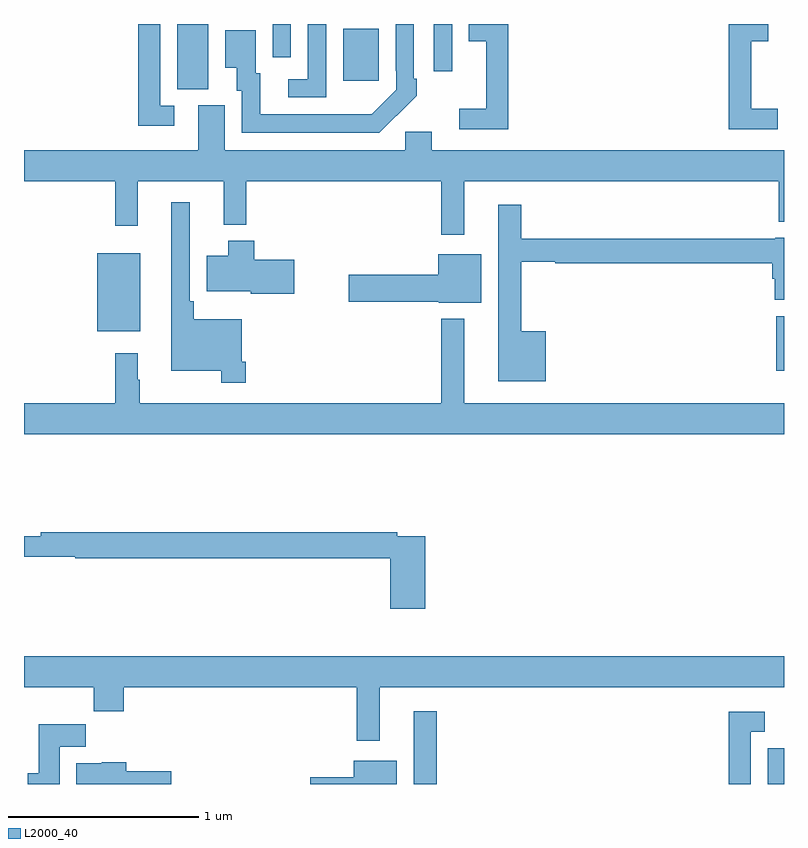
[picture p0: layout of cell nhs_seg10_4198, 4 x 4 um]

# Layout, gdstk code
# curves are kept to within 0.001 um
import gdstk
lib = gdstk.Library(unit=1e-6, precision=1e-09)
def R(c, l, rs):  # rectangles x0, y0, x1, y1
    for r in rs: c.add(gdstk.rectangle(r[:2], r[2:], *l))
def P(c, l, *ps):  # polygons
    for p in ps: c.add(gdstk.Polygon(p, *l))
L2000_40 = (2000, 40)

nhs_seg10_4198 = lib.new_cell('nhs_seg10_4198')
R(nhs_seg10_4198, L2000_40, [(347.051,1274.5,347.173,1274.884), (348.914,1274.5,349,1274.688), (348.959,1276.674,349,1276.963), (345.386,1276.883,345.613,1277.293), (345.806,1278.157,345.97,1278.5), (346.679,1278.201,346.867,1278.475), (347.157,1278.252,347.253,1278.5), (346.308,1278.324,346.404,1278.5)])
P(nhs_seg10_4198, L2000_40, [(346.961,1278.019),(346.962,1278.018),(347.067,1278.123),(347.067,1278.211),(347.052,1278.211),(347.052,1278.5),(346.956,1278.5),(346.956,1278.253),(346.959,1278.253),(346.959,1278.153),(346.831,1278.025),(346.243,1278.024),(346.243,1278.24),(346.219,1278.24),(346.219,1278.466),(346.058,1278.466),(346.058,1278.269),(346.121,1278.269),(346.121,1278.15),(346.146,1278.15),(346.146,1277.928),(346.87,1277.928)],
  [(345.79,1278.069),(345.717,1278.069),(345.717,1278.5),(345.601,1278.5),(345.601,1277.964),(345.79,1277.964)],
  [(346.59,1278.5),(346.494,1278.5),(346.494,1278.21),(346.392,1278.21),(346.392,1278.114),(346.59,1278.114)],
  [(348.967,1278.055),(348.827,1278.055),(348.827,1278.41),(348.916,1278.41),(348.916,1278.5),(348.709,1278.5),(348.709,1277.946),(348.967,1277.946)],
  [(347.549,1278.5),(347.342,1278.5),(347.342,1278.41),(347.432,1278.41),(347.432,1278.055),(347.292,1278.055),(347.292,1277.946),(347.549,1277.946)],
  [(347.317,1277.672),(348.973,1277.672),(348.973,1277.459),(349,1277.459),(349,1277.836),(347.146,1277.836),(347.146,1277.934),(347.007,1277.934),(347.007,1277.836),(346.057,1277.836),(346.057,1278.072),(345.917,1278.072),(345.917,1277.836),(345,1277.836),(345,1277.672),(345.481,1277.672),(345.481,1277.439),(345.599,1277.439),(345.599,1277.672),(346.052,1277.672),(346.052,1277.444),(346.169,1277.444),(346.169,1277.672),(347.196,1277.672),(347.196,1277.391),(347.317,1277.391)],
  [(346.166,1276.723),(346.146,1276.723),(346.146,1276.945),(345.893,1276.945),(345.893,1277.041),(345.873,1277.041),(345.873,1277.563),(345.776,1277.563),(345.776,1276.676),(346.038,1276.676),(346.038,1276.611),(346.166,1276.611)],
  [(347.746,1276.882),(347.617,1276.882),(347.617,1277.25),(347.795,1277.25),(347.795,1277.242),(348.938,1277.242),(348.938,1277.159),(348.95,1277.159),(348.95,1277.048),(349,1277.048),(349,1277.374),(348.954,1277.374),(348.954,1277.371),(347.617,1277.371),(347.617,1277.548),(347.495,1277.548),(347.495,1276.619),(347.746,1276.619)],
  [(346.423,1277.259),(346.211,1277.259),(346.211,1277.359),(346.076,1277.359),(346.076,1277.281),(345.962,1277.281),(345.962,1277.093),(346.194,1277.093),(346.194,1277.081),(346.423,1277.081)],
  [(347.407,1277.287),(347.18,1277.287),(347.18,1277.181),(346.71,1277.181),(346.71,1277.039),(347.184,1277.039),(347.184,1277.033),(347.407,1277.033)],
  [(349,1276.504),(347.317,1276.504),(347.317,1276.948),(347.196,1276.948),(347.196,1276.504),(345.61,1276.504),(345.61,1276.628),(345.598,1276.628),(345.598,1276.768),(345.481,1276.768),(345.481,1276.504),(345,1276.504),(345,1276.34),(349,1276.34)],
  [(347.111,1275.804),(346.964,1275.804),(346.964,1275.824),(345.088,1275.824),(345.088,1275.805),(345,1275.805),(345,1275.696),(345.269,1275.696),(345.269,1275.688),(346.928,1275.688),(346.928,1275.423),(347.111,1275.423)],
  [(346.873,1275.008),(349,1275.008),(349,1275.172),(345,1275.172),(345,1275.008),(345.367,1275.008),(345.367,1274.884),(345.524,1274.884),(345.524,1275.008),(346.752,1275.008),(346.752,1274.727),(346.873,1274.727)],
  [(348.825,1274.775),(348.898,1274.775),(348.898,1274.881),(348.709,1274.881),(348.709,1274.5),(348.825,1274.5)],
  [(345.187,1274.696),(345.326,1274.696),(345.326,1274.815),(345.077,1274.815),(345.077,1274.556),(345.02,1274.556),(345.02,1274.5),(345.187,1274.5)],
  [(346.963,1274.623),(346.736,1274.623),(346.736,1274.535),(346.506,1274.535),(346.506,1274.5),(346.963,1274.5)],
  [(345.775,1274.568),(345.539,1274.568),(345.539,1274.614),(345.408,1274.614),(345.408,1274.608),(345.275,1274.608),(345.275,1274.5),(345.775,1274.5)])

lib.write_gds('nhs_seg10_4198.gds')
